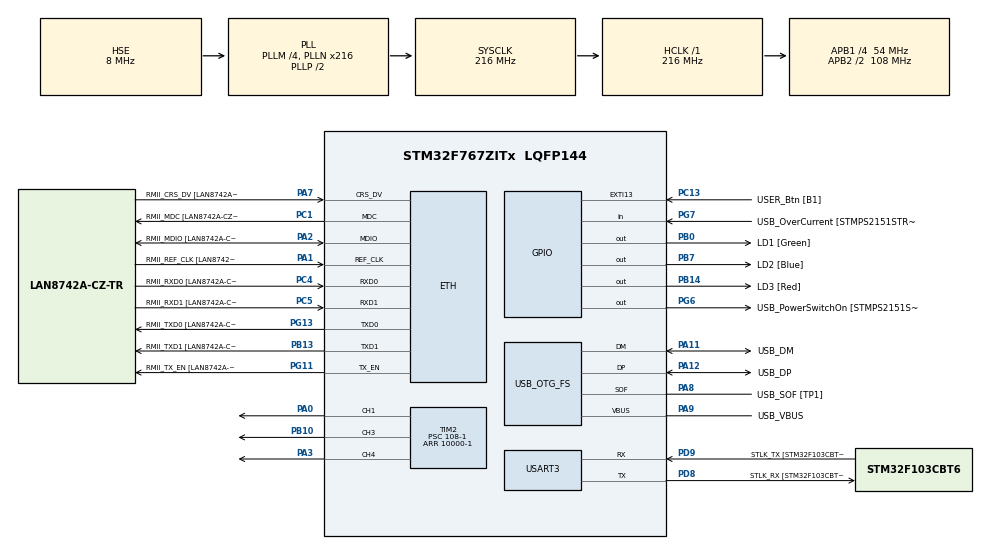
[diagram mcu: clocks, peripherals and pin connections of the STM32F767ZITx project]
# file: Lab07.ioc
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ETH.MediaInterface=HAL_ETH_RMII_MODE
ETH.PHY_Name=LAN8742A_PHY_ADDRESS
ETH.PHY_Value=0
ETH.PhyAddress=0
Mcu.Family=STM32F7
Mcu.Name=STM32F767ZITx
Mcu.Package=LQFP144
NVIC.PriorityGroup=NVIC_PRIORITYGROUP_4
PA0/WKUP.Signal=S_TIM2_CH1_ETR
PA1.GPIO_Label=RMII_REF_CLK [LAN8742A-CZ-TR_REFCLK0]
PA1.Mode=RMII
PA1.Signal=ETH_REF_CLK
PA10.GPIO_Label=USB_ID
PA10.Signal=USB_OTG_FS_ID
PA11.GPIO_Label=USB_DM
PA11.Mode=Device_Only
PA11.Signal=USB_OTG_FS_DM
PA12.GPIO_Label=USB_DP
PA12.Mode=Device_Only
PA12.Signal=USB_OTG_FS_DP
PA13.GPIO_Label=TMS
PA13.Mode=Serial_Wire
PA13.Signal=SYS_JTMS-SWDIO
PA14.GPIO_Label=TCK
PA14.Mode=Serial_Wire
PA14.Signal=SYS_JTCK-SWCLK
PA2.GPIO_Label=RMII_MDIO [LAN8742A-CZ-TR_MDIO]
PA2.Mode=RMII
PA2.Signal=ETH_MDIO
PA3.Signal=S_TIM2_CH4
PA7.GPIO_Label=RMII_CRS_DV [LAN8742A-CZ-TR_CRS_DV]
PA7.Mode=RMII
PA7.Signal=ETH_CRS_DV
PA8.GPIO_Label=USB_SOF [TP1]
PA8.Mode=Activate_SOF_FS
PA8.Signal=USB_OTG_FS_SOF
PA9.GPIO_Label=USB_VBUS
PA9.Mode=Activate_VBUS
PA9.Signal=USB_OTG_FS_VBUS
PB0.GPIO_Label=LD1 [Green]
PB0.Signal=GPIO_Output
PB10.GPIO_Speed=GPIO_SPEED_FREQ_VERY_HIGH
PB10.Signal=S_TIM2_CH3
PB13.GPIO_Label=RMII_TXD1 [LAN8742A-CZ-TR_TXD1]
PB13.Mode=RMII
PB13.Signal=ETH_TXD1
PB14.GPIO_Label=LD3 [Red]
PB14.Signal=GPIO_Output
PB3.GPIO_Label=SWO
PB3.Signal=SYS_JTDO-SWO
PB7.GPIO_Label=LD2 [Blue]
PB7.Signal=GPIO_Output
PC1.GPIO_Label=RMII_MDC [LAN8742A-CZ-TR_MDC]
PC1.Mode=RMII
PC1.Signal=ETH_MDC
PC13.GPIO_Label=USER_Btn [B1]
PC13.Signal=GPXTI13
PC14/OSC32_IN.Mode=LSE-External-Oscillator
PC14/OSC32_IN.Signal=RCC_OSC32_IN
PC15/OSC32_OUT.Mode=LSE-External-Oscillator
PC15/OSC32_OUT.Signal=RCC_OSC32_OUT
PC4.GPIO_Label=RMII_RXD0 [LAN8742A-CZ-TR_RXD0]
PC4.Mode=RMII
PC4.Signal=ETH_RXD0
PC5.GPIO_Label=RMII_RXD1 [LAN8742A-CZ-TR_RXD1]
PC5.Mode=RMII
PC5.Signal=ETH_RXD1
PD8.GPIO_Label=STLK_RX [STM32F103CBT6_PA3]
PD8.Mode=Asynchronous
PD8.Signal=USART3_TX
PD9.GPIO_Label=STLK_TX [STM32F103CBT6_PA2]
PD9.Mode=Asynchronous
PD9.Signal=USART3_RX
PG11.GPIO_Label=RMII_TX_EN [LAN8742A-CZ-TR_TXEN]
PG11.Mode=RMII
PG11.Signal=ETH_TX_EN
PG13.GPIO_Label=RMII_TXD0 [LAN8742A-CZ-TR_TXD0]
PG13.Mode=RMII
PG13.Signal=ETH_TXD0
PG6.GPIO_Label=USB_PowerSwitchOn [STMPS2151STR_EN]
PG6.Signal=GPIO_Output
PG7.GPIO_Label=USB_OverCurrent [STMPS2151STR_FAULT]
PG7.Signal=GPIO_Input
PH0/OSC_IN.GPIO_Label=MCO [STM32F103CBT6_PA8]
PH0/OSC_IN.Mode=HSE-External-Clock-Source
PH0/OSC_IN.Signal=RCC_OSC_IN
PH1/OSC_OUT.Mode=HSE-External-Clock-Source
PH1/OSC_OUT.Signal=RCC_OSC_OUT
ProjectManager.HeapSize=0x200
ProjectManager.StackSize=0x400
ProjectManager.TargetToolchain=STM32CubeIDE
RCC.48MHZClocksFreq_Value=24000000
RCC.AHBFreq_Value=216000000
RCC.APB1CLKDivider=RCC_HCLK_DIV4
RCC.APB1Freq_Value=54000000
RCC.APB1TimFreq_Value=108000000
RCC.APB2CLKDivider=RCC_HCLK_DIV2
RCC.APB2Freq_Value=108000000
RCC.APB2TimFreq_Value=216000000
RCC.CortexFreq_Value=216000000
RCC.HCLKFreq_Value=216000000
RCC.HSE_VALUE=8000000
RCC.HSI_VALUE=16000000
RCC.PLLM=4
RCC.PLLMUL=RCC_PLL_MUL9
RCC.PLLN=216
RCC.PLLQ=9
RCC.PRESCALERUSB=RCC_USBCLKSOURCE_PLL_DIV1_5
RCC.SYSCLKFreq_VALUE=216000000
RCC.SYSCLKSource=RCC_SYSCLKSOURCE_PLLCLK
RCC.SYSCLKSourceVirtual=RCC_SYSCLKSOURCE_PLLCLK
RCC.USBFreq_Value=48000000
RCC.VCOOutputFreq_Value=432000000
SH.S_TIM2_CH1_ETR.0=TIM2_CH1,PWM Generation1 CH1
SH.S_TIM2_CH3.0=TIM2_CH3,PWM Generation3 CH3
SH.S_TIM2_CH4.0=TIM2_CH4,PWM Generation4 CH4
TIM2.Channel-PWM\ Generation1\ CH1=TIM_CHANNEL_1
TIM2.Channel-PWM\ Generation3\ CH3=TIM_CHANNEL_3
TIM2.Channel-PWM\ Generation4\ CH4=TIM_CHANNEL_4
TIM2.OC3Preload_PWM=ENABLE
TIM2.OCFastMode_PWM-PWM\ Generation3\ CH3=TIM_OCFAST_DISABLE
TIM2.Period=10000-1
TIM2.Prescaler=108-1
TIM2.Pulse-PWM\ Generation1\ CH1=10000/4-1
TIM2.Pulse-PWM\ Generation3\ CH3=10000/4-1
TIM2.Pulse-PWM\ Generation4\ CH4=10000/4-1
USART3.VirtualMode-Asynchronous=VM_ASYNC
USB_OTG_FS.VirtualMode=Device_Only
VP_TIM2_VS_ClockSourceINT.Mode=Internal
board=NUCLEO-F767ZI

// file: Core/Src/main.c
/* USER CODE BEGIN Header */
/**
  ******************************************************************************
  * @file           : main.c
  * @brief          : Main program body
  ******************************************************************************
  * @attention
  *
  * Copyright (c) 2022 STMicroelectronics.
  * All rights reserved.
  *
  * This software is licensed under terms that can be found in the LICENSE file
  * in the root directory of this software component.
  * If no LICENSE file comes with this software, it is provided AS-IS.
  *
  ******************************************************************************
  */
/* USER CODE END Header */
#include "main.h"
#include "string.h"

#if defined ( __ICCARM__ ) /*!< IAR Compiler */
#pragma location=0x2007c000
ETH_DMADescTypeDef  DMARxDscrTab[ETH_RX_DESC_CNT]; /* Ethernet Rx DMA Descriptors */
#pragma location=0x2007c0a0
ETH_DMADescTypeDef  DMATxDscrTab[ETH_TX_DESC_CNT]; /* Ethernet Tx DMA Descriptors */

#elif defined ( __CC_ARM )  /* MDK ARM Compiler */

__attribute__((at(0x2007c000))) ETH_DMADescTypeDef  DMARxDscrTab[ETH_RX_DESC_CNT]; /* Ethernet Rx DMA Descriptors */
__attribute__((at(0x2007c0a0))) ETH_DMADescTypeDef  DMATxDscrTab[ETH_TX_DESC_CNT]; /* Ethernet Tx DMA Descriptors */

#elif defined ( __GNUC__ ) /* GNU Compiler */
ETH_DMADescTypeDef DMARxDscrTab[ETH_RX_DESC_CNT] __attribute__((section(".RxDecripSection"))); /* Ethernet Rx DMA Descriptors */
ETH_DMADescTypeDef DMATxDscrTab[ETH_TX_DESC_CNT] __attribute__((section(".TxDecripSection")));   /* Ethernet Tx DMA Descriptors */

#endif

ETH_TxPacketConfig TxConfig;

ETH_HandleTypeDef heth;

TIM_HandleTypeDef htim2;

UART_HandleTypeDef huart3;

PCD_HandleTypeDef hpcd_USB_OTG_FS;

/* USER CODE BEGIN PV */
uint8_t pwm;
uint8_t pwm_r;
uint8_t pwm_g;
uint8_t pwm_b;

char ch1;
/* USER CODE END PV */

void SystemClock_Config(void);
static void MX_GPIO_Init(void);
static void MX_ETH_Init(void);
static void MX_USART3_UART_Init(void);
static void MX_USB_OTG_FS_PCD_Init(void);
static void MX_TIM2_Init(void);

int main(void)
{

  /* MCU Configuration--------------------------------------------------------*/

  /* Reset of all peripherals, Initializes the Flash interface and the Systick. */
  HAL_Init();

  /* Configure the system clock */
  SystemClock_Config();

  /* Initialize all configured peripherals */
  MX_GPIO_Init();
  MX_ETH_Init();
  MX_USART3_UART_Init();
  MX_USB_OTG_FS_PCD_Init();
  MX_TIM2_Init();
  /* USER CODE BEGIN 2 */
  // float dutyCycle = 0.75; // code 2
  float dutyCycle_r = 0;
  float dutyCycle_g = 0;
  float dutyCycle_b = 0;

  char str[] = "Input RGB => ";

  htim2.Instance -> CCR3 = (10000-1) * dutyCycle_b;
  HAL_TIM_PWM_Start(&htim2, TIM_CHANNEL_3);
  htim2.Instance -> CCR4 = (10000-1) * dutyCycle_g;
  HAL_TIM_PWM_Start(&htim2, TIM_CHANNEL_4);
  htim2.Instance -> CCR1 = (10000-1) * dutyCycle_r;
  HAL_TIM_PWM_Start(&htim2, TIM_CHANNEL_1);
  /* USER CODE END 2 */

  /* Infinite loop */
  while (1)
  {

    /* USER CODE BEGIN 3 */
	 /* HAL_TIM_PWM_Start(&htim2, TIM_CHANNEL_3);
	  HAL_Delay(100);
	  HAL_TIM_PWM_Stop(&htim2, TIM_CHANNEL_3);
	  pwm = (GPIOB->IDR & GPIO_PIN_10) >>10;*/ //Code 1

	  /*htim2.Instance -> CCR3 = (10000-1) * dutyCycle;
	  HAL_TIM_PWM_Start(&htim2, TIM_CHANNEL_3);
	  HAL_Delay(100);
	  HAL_TIM_PWM_Stop(&htim2, TIM_CHANNEL_3);
	  pwm = (GPIOB->IDR & GPIO_PIN_10) >>10; */ //code 2

	  while(__HAL_UART_GET_FLAG(&huart3,UART_FLAG_TC)==RESET){}
	  HAL_UART_Transmit(&huart3, (uint8_t*) str, strlen(str),1000);
	  while(__HAL_UART_GET_FLAG(&huart3,UART_FLAG_RXNE)== RESET){
		  pwm_b = ((GPIOB->IDR & GPIO_PIN_10) >>10)+0 ;
		  pwm_g = ((GPIOA->IDR & GPIO_PIN_3) >>3)+2 ;
		  pwm_r = ((GPIOA->IDR & GPIO_PIN_0) >>0)+4 ;
		  HAL_Delay(100);
	  }
	  HAL_UART_Receive(&huart3, (uint8_t*) &ch1, 1, 1000);
	  while(__HAL_UART_GET_FLAG(&huart3,UART_FLAG_TC)==RESET){}
	  HAL_UART_Transmit(&huart3, (uint8_t*) &ch1, 1,1000);
	  HAL_UART_Transmit(&huart3, (uint8_t*) "\n\r", 2,1000);

	  if (ch1 == 'r')
	  {
		  dutyCycle_r += 0.2;
		  if(dutyCycle_r > 1)
			  {
			  dutyCycle_r = 0;
			  }
		  HAL_TIM_PWM_Stop(&htim2, TIM_CHANNEL_1);
		  htim2.Instance -> CCR1 = (10000-1) * dutyCycle_r;
		  HAL_TIM_PWM_Start(&htim2, TIM_CHANNEL_1);
	  }
	  if (ch1 == 'g')
	  	  {
	  		  dutyCycle_g += 0.2;
	  		  if(dutyCycle_g > 1)
	  			  {
	  			  dutyCycle_g = 0;
	  			  }
	  		  HAL_TIM_PWM_Stop(&htim2, TIM_CHANNEL_4);
	  		  htim2.Instance -> CCR4 = (10000-1) * dutyCycle_g;
	  		  HAL_TIM_PWM_Start(&htim2, TIM_CHANNEL_4);
	  }
	  if (ch1 == 'b')
	  	  {
		  dutyCycle_b += 0.2;
	  		  if(dutyCycle_b > 1)
	  			  {
	  			  dutyCycle_b = 0;
	  			  }
	  		  HAL_TIM_PWM_Stop(&htim2, TIM_CHANNEL_3);
	  		  htim2.Instance -> CCR3 = (10000-1) * dutyCycle_b;
	  		  HAL_TIM_PWM_Start(&htim2, TIM_CHANNEL_3);
	  	}

  }
  /* USER CODE END 3 */
}

void SystemClock_Config(void)
{
  RCC_OscInitTypeDef RCC_OscInitStruct = {0};
  RCC_ClkInitTypeDef RCC_ClkInitStruct = {0};

  /** Configure LSE Drive Capability
  */
  HAL_PWR_EnableBkUpAccess();

  /** Configure the main internal regulator output voltage
  */
  __HAL_RCC_PWR_CLK_ENABLE();
  __HAL_PWR_VOLTAGESCALING_CONFIG(PWR_REGULATOR_VOLTAGE_SCALE1);

  /** Initializes the RCC Oscillators according to the specified parameters
  * in the RCC_OscInitTypeDef structure.
  */
  RCC_OscInitStruct.OscillatorType = RCC_OSCILLATORTYPE_HSE;
  RCC_OscInitStruct.HSEState = RCC_HSE_BYPASS;
  RCC_OscInitStruct.PLL.PLLState = RCC_PLL_ON;
  RCC_OscInitStruct.PLL.PLLSource = RCC_PLLSOURCE_HSE;
  RCC_OscInitStruct.PLL.PLLM = 4;
  RCC_OscInitStruct.PLL.PLLN = 216;
  RCC_OscInitStruct.PLL.PLLP = RCC_PLLP_DIV2;
  RCC_OscInitStruct.PLL.PLLQ = 9;
  RCC_OscInitStruct.PLL.PLLR = 2;
  if (HAL_RCC_OscConfig(&RCC_OscInitStruct) != HAL_OK)
  {
    Error_Handler();
  }

  /** Activate the Over-Drive mode
  */
  if (HAL_PWREx_EnableOverDrive() != HAL_OK)
  {
    Error_Handler();
  }

  /** Initializes the CPU, AHB and APB buses clocks
  */
  RCC_ClkInitStruct.ClockType = RCC_CLOCKTYPE_HCLK|RCC_CLOCKTYPE_SYSCLK
                              |RCC_CLOCKTYPE_PCLK1|RCC_CLOCKTYPE_PCLK2;
  RCC_ClkInitStruct.SYSCLKSource = RCC_SYSCLKSOURCE_PLLCLK;
  RCC_ClkInitStruct.AHBCLKDivider = RCC_SYSCLK_DIV1;
  RCC_ClkInitStruct.APB1CLKDivider = RCC_HCLK_DIV4;
  RCC_ClkInitStruct.APB2CLKDivider = RCC_HCLK_DIV2;

  if (HAL_RCC_ClockConfig(&RCC_ClkInitStruct, FLASH_LATENCY_7) != HAL_OK)
  {
    Error_Handler();
  }
}

static void MX_ETH_Init(void)
{

   static uint8_t MACAddr[6];

  heth.Instance = ETH;
  MACAddr[0] = 0x00;
  MACAddr[1] = 0x80;
  MACAddr[2] = 0xE1;
  MACAddr[3] = 0x00;
  MACAddr[4] = 0x00;
  MACAddr[5] = 0x00;
  heth.Init.MACAddr = &MACAddr[0];
  heth.Init.MediaInterface = HAL_ETH_RMII_MODE;
  heth.Init.TxDesc = DMATxDscrTab;
  heth.Init.RxDesc = DMARxDscrTab;
  heth.Init.RxBuffLen = 1524;

  if (HAL_ETH_Init(&heth) != HAL_OK)
  {
    Error_Handler();
  }

  memset(&TxConfig, 0 , sizeof(ETH_TxPacketConfig));
  TxConfig.Attributes = ETH_TX_PACKETS_FEATURES_CSUM | ETH_TX_PACKETS_FEATURES_CRCPAD;
  TxConfig.ChecksumCtrl = ETH_CHECKSUM_IPHDR_PAYLOAD_INSERT_PHDR_CALC;
  TxConfig.CRCPadCtrl = ETH_CRC_PAD_INSERT;

}

static void MX_TIM2_Init(void)
{

  TIM_ClockConfigTypeDef sClockSourceConfig = {0};
  TIM_MasterConfigTypeDef sMasterConfig = {0};
  TIM_OC_InitTypeDef sConfigOC = {0};

  htim2.Instance = TIM2;
  htim2.Init.Prescaler = 108-1;
  htim2.Init.CounterMode = TIM_COUNTERMODE_UP;
  htim2.Init.Period = 10000-1;
  htim2.Init.ClockDivision = TIM_CLOCKDIVISION_DIV1;
  htim2.Init.AutoReloadPreload = TIM_AUTORELOAD_PRELOAD_DISABLE;
  if (HAL_TIM_Base_Init(&htim2) != HAL_OK)
  {
    Error_Handler();
  }
  sClockSourceConfig.ClockSource = TIM_CLOCKSOURCE_INTERNAL;
  if (HAL_TIM_ConfigClockSource(&htim2, &sClockSourceConfig) != HAL_OK)
  {
    Error_Handler();
  }
  if (HAL_TIM_PWM_Init(&htim2) != HAL_OK)
  {
    Error_Handler();
  }
  sMasterConfig.MasterOutputTrigger = TIM_TRGO_RESET;
  sMasterConfig.MasterSlaveMode = TIM_MASTERSLAVEMODE_DISABLE;
  if (HAL_TIMEx_MasterConfigSynchronization(&htim2, &sMasterConfig) != HAL_OK)
  {
    Error_Handler();
  }
  sConfigOC.OCMode = TIM_OCMODE_PWM1;
  sConfigOC.Pulse = 10000/4-1;
  sConfigOC.OCPolarity = TIM_OCPOLARITY_HIGH;
  sConfigOC.OCFastMode = TIM_OCFAST_DISABLE;
  if (HAL_TIM_PWM_ConfigChannel(&htim2, &sConfigOC, TIM_CHANNEL_1) != HAL_OK)
  {
    Error_Handler();
  }
  if (HAL_TIM_PWM_ConfigChannel(&htim2, &sConfigOC, TIM_CHANNEL_3) != HAL_OK)
  {
    Error_Handler();
  }
  if (HAL_TIM_PWM_ConfigChannel(&htim2, &sConfigOC, TIM_CHANNEL_4) != HAL_OK)
  {
    Error_Handler();
  }
  HAL_TIM_MspPostInit(&htim2);

}

static void MX_USART3_UART_Init(void)
{

  huart3.Instance = USART3;
  huart3.Init.BaudRate = 115200;
  huart3.Init.WordLength = UART_WORDLENGTH_8B;
  huart3.Init.StopBits = UART_STOPBITS_1;
  huart3.Init.Parity = UART_PARITY_NONE;
  huart3.Init.Mode = UART_MODE_TX_RX;
  huart3.Init.HwFlowCtl = UART_HWCONTROL_NONE;
  huart3.Init.OverSampling = UART_OVERSAMPLING_16;
  huart3.Init.OneBitSampling = UART_ONE_BIT_SAMPLE_DISABLE;
  huart3.AdvancedInit.AdvFeatureInit = UART_ADVFEATURE_NO_INIT;
  if (HAL_UART_Init(&huart3) != HAL_OK)
  {
    Error_Handler();
  }

}

static void MX_USB_OTG_FS_PCD_Init(void)
{

  hpcd_USB_OTG_FS.Instance = USB_OTG_FS;
  hpcd_USB_OTG_FS.Init.dev_endpoints = 6;
  hpcd_USB_OTG_FS.Init.speed = PCD_SPEED_FULL;
  hpcd_USB_OTG_FS.Init.dma_enable = DISABLE;
  hpcd_USB_OTG_FS.Init.phy_itface = PCD_PHY_EMBEDDED;
  hpcd_USB_OTG_FS.Init.Sof_enable = ENABLE;
  hpcd_USB_OTG_FS.Init.low_power_enable = DISABLE;
  hpcd_USB_OTG_FS.Init.lpm_enable = DISABLE;
  hpcd_USB_OTG_FS.Init.vbus_sensing_enable = ENABLE;
  hpcd_USB_OTG_FS.Init.use_dedicated_ep1 = DISABLE;
  if (HAL_PCD_Init(&hpcd_USB_OTG_FS) != HAL_OK)
  {
    Error_Handler();
  }

}

static void MX_GPIO_Init(void)
{
  GPIO_InitTypeDef GPIO_InitStruct = {0};

  /* GPIO Ports Clock Enable */
  __HAL_RCC_GPIOC_CLK_ENABLE();
  __HAL_RCC_GPIOH_CLK_ENABLE();
  __HAL_RCC_GPIOA_CLK_ENABLE();
  __HAL_RCC_GPIOB_CLK_ENABLE();
  __HAL_RCC_GPIOD_CLK_ENABLE();
  __HAL_RCC_GPIOG_CLK_ENABLE();

  /*Configure GPIO pin Output Level */
  HAL_GPIO_WritePin(GPIOB, LD1_Pin|LD3_Pin|LD2_Pin, GPIO_PIN_RESET);

  /*Configure GPIO pin Output Level */
  HAL_GPIO_WritePin(USB_PowerSwitchOn_GPIO_Port, USB_PowerSwitchOn_Pin, GPIO_PIN_RESET);

  /*Configure GPIO pin : USER_Btn_Pin */
  GPIO_InitStruct.Pin = USER_Btn_Pin;
  GPIO_InitStruct.Mode = GPIO_MODE_IT_RISING;
  GPIO_InitStruct.Pull = GPIO_NOPULL;
  HAL_GPIO_Init(USER_Btn_GPIO_Port, &GPIO_InitStruct);

  /*Configure GPIO pins : LD1_Pin LD3_Pin LD2_Pin */
  GPIO_InitStruct.Pin = LD1_Pin|LD3_Pin|LD2_Pin;
  GPIO_InitStruct.Mode = GPIO_MODE_OUTPUT_PP;
  GPIO_InitStruct.Pull = GPIO_NOPULL;
  GPIO_InitStruct.Speed = GPIO_SPEED_FREQ_LOW;
  HAL_GPIO_Init(GPIOB, &GPIO_InitStruct);

  /*Configure GPIO pin : USB_PowerSwitchOn_Pin */
  GPIO_InitStruct.Pin = USB_PowerSwitchOn_Pin;
  GPIO_InitStruct.Mode = GPIO_MODE_OUTPUT_PP;
  GPIO_InitStruct.Pull = GPIO_NOPULL;
  GPIO_InitStruct.Speed = GPIO_SPEED_FREQ_LOW;
  HAL_GPIO_Init(USB_PowerSwitchOn_GPIO_Port, &GPIO_InitStruct);

  /*Configure GPIO pin : USB_OverCurrent_Pin */
  GPIO_InitStruct.Pin = USB_OverCurrent_Pin;
  GPIO_InitStruct.Mode = GPIO_MODE_INPUT;
  GPIO_InitStruct.Pull = GPIO_NOPULL;
  HAL_GPIO_Init(USB_OverCurrent_GPIO_Port, &GPIO_InitStruct);

}

void Error_Handler(void)
{
  __disable_irq();
  while (1)
  {
  }
}
